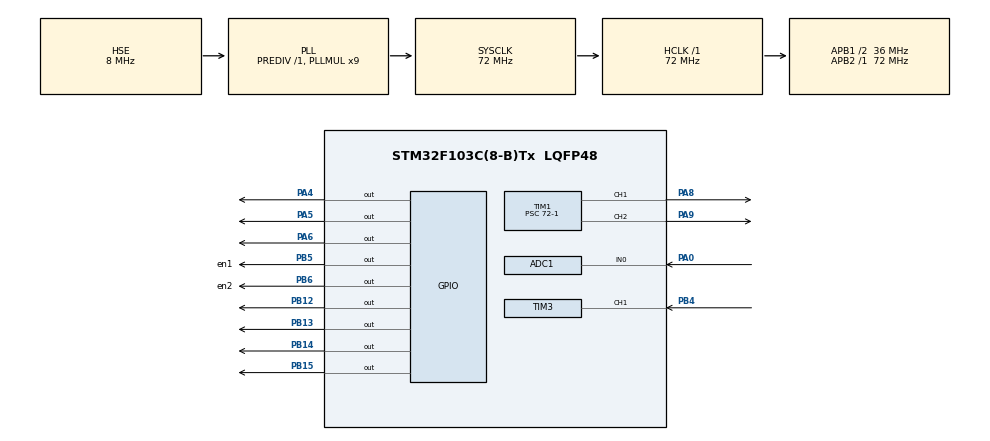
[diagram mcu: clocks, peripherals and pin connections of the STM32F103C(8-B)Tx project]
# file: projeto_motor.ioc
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ADC1.Channel-0\#ChannelRegularConversion=ADC_CHANNEL_0
ADC1.ContinuousConvMode=ENABLE
ADC1.NbrOfConversionFlag=1
ADC1.Rank-0\#ChannelRegularConversion=1
ADC1.SamplingTime-0\#ChannelRegularConversion=ADC_SAMPLETIME_1CYCLE_5
ADC1.master=1
Dma.ADC1.0.Direction=DMA_PERIPH_TO_MEMORY
Dma.ADC1.0.Instance=DMA1_Channel1
Dma.ADC1.0.MemDataAlignment=DMA_MDATAALIGN_WORD
Dma.ADC1.0.MemInc=DMA_MINC_ENABLE
Dma.ADC1.0.Mode=DMA_CIRCULAR
Dma.ADC1.0.PeriphDataAlignment=DMA_PDATAALIGN_WORD
Dma.ADC1.0.PeriphInc=DMA_PINC_DISABLE
Dma.ADC1.0.Priority=DMA_PRIORITY_LOW
Dma.Request0=ADC1
Mcu.Family=STM32F1
Mcu.Name=STM32F103C(8-B)Tx
Mcu.Package=LQFP48
NVIC.ADC1_2_IRQn=true\:0\:0\:false\:false\:true\:true\:true\:true
NVIC.DMA1_Channel1_IRQn=true\:0\:0\:false\:false\:true\:false\:true\:true
NVIC.PriorityGroup=NVIC_PRIORITYGROUP_4
NVIC.TIM4_IRQn=true\:0\:0\:false\:false\:true\:true\:true\:true
PA0-WKUP.Signal=ADCx_IN0
PA4.Signal=GPIO_Output
PA5.Signal=GPIO_Output
PA6.Signal=GPIO_Output
PA8.Signal=S_TIM1_CH1
PA9.Signal=S_TIM1_CH2
PB12.Signal=GPIO_Output
PB13.Signal=GPIO_Output
PB14.Signal=GPIO_Output
PB15.Signal=GPIO_Output
PB4.Signal=S_TIM3_CH1
PB5.GPIO_Label=en1
PB5.GPIO_PuPd=GPIO_PULLDOWN
PB5.Signal=GPIO_Output
PB6.GPIO_Label=en2
PB6.GPIO_PuPd=GPIO_PULLDOWN
PB6.Signal=GPIO_Output
PD0-OSC_IN.Mode=HSE-External-Oscillator
PD0-OSC_IN.Signal=RCC_OSC_IN
PD1-OSC_OUT.Mode=HSE-External-Oscillator
PD1-OSC_OUT.Signal=RCC_OSC_OUT
ProjectManager.HeapSize=0x200
ProjectManager.StackSize=0x400
ProjectManager.TargetToolchain=STM32CubeIDE
RCC.ADCPresc=RCC_ADCPCLK2_DIV6
RCC.AHBFreq_Value=72000000
RCC.APB1CLKDivider=RCC_HCLK_DIV2
RCC.APB1Freq_Value=36000000
RCC.APB1TimFreq_Value=72000000
RCC.APB2Freq_Value=72000000
RCC.APB2TimFreq_Value=72000000
RCC.HCLKFreq_Value=72000000
RCC.PLLMUL=RCC_PLL_MUL9
RCC.PLLSourceVirtual=RCC_PLLSOURCE_HSE
RCC.SYSCLKFreq_VALUE=72000000
RCC.SYSCLKSource=RCC_SYSCLKSOURCE_PLLCLK
RCC.USBFreq_Value=72000000
SH.ADCx_IN0.0=ADC1_IN0,IN0
SH.S_TIM1_CH1.0=TIM1_CH1,PWM Generation1 CH1
SH.S_TIM1_CH2.0=TIM1_CH2,PWM Generation2 CH2
SH.S_TIM3_CH1.0=TIM3_CH1,TriggerSource_TI1FP1
TIM1.Channel-PWM\ Generation1\ CH1=TIM_CHANNEL_1
TIM1.Channel-PWM\ Generation2\ CH2=TIM_CHANNEL_2
TIM1.OCIdleState_2=TIM_OCIDLESTATE_RESET
TIM1.OCPolarity_2=TIM_OCPOLARITY_HIGH
TIM1.Period=100-1
TIM1.Prescaler=72-1
TIM1.Pulse-PWM\ Generation2\ CH2=0
TIM4.AutoReloadPreload=TIM_AUTORELOAD_PRELOAD_ENABLE
TIM4.Period=999
TIM4.Prescaler=1799
VP_SYS_VS_ND.Mode=No_Debug
VP_TIM1_VS_ClockSourceINT.Mode=Internal
VP_TIM3_VS_ControllerModeClock.Mode=Clock Mode
VP_TIM4_VS_ClockSourceINT.Mode=Internal
board=custom

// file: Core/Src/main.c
/* USER CODE BEGIN Header */
/**
  ******************************************************************************
  * @file           : main.c
  * @brief          : Main program body
  ******************************************************************************
  * @attention
  *
  * Copyright (c) 2023 STMicroelectronics.
  * All rights reserved.
  *
  * This software is licensed under terms that can be found in the LICENSE file
  * in the root directory of this software component.
  * If no LICENSE file comes with this software, it is provided AS-IS.
  *
  ******************************************************************************
  */
/* USER CODE END Header */
#include "main.h"

/* USER CODE BEGIN Includes */
#include "lcd.h"
#include <math.h>
#include <stdlib.h>
#include <stdio.h>
/* USER CODE END Includes */

/* USER CODE BEGIN PD */
#define HORARIO 1				// Define variavéis para clarificar o que esta sendo checado
#define ANTIHORARIO -1			// idem a de cima
#define ADC_MAX_THR 4000		// Valor do ADC a partir do qual é considerao 100% do pedal
#define ADC_MIN_THR 100			// Valor do ADC a partir do qual é considerao 0 do pedal
#define RPM_LOW_THR	100			// Valor menor que ese, motor considerado muito lento/parado
#define RPM_TIME_DELAY 400		// Intervalo de tempo entre checagens na velocidade, identifica motor parado
#define LCD_TIME_DELAY 200		// Intervalo de tempo entre atualizações do LCD
#define ADC_TIME_DELAY 300		// Intervalo de tempo usado para identificar variações rápidas no pedal
#define MAX_ADC_VARIATION 1000	// Define a variação máxima permitida do ADC em um itervalo de tempo
#define NOISE 200				// Adiciona robustez a rudios na leitura do ADC
#define PPR 1000
#define TIM4_FREQ 40
/* USER CODE END PD */

ADC_HandleTypeDef hadc1;
DMA_HandleTypeDef hdma_adc1;

TIM_HandleTypeDef htim1;
TIM_HandleTypeDef htim3;
TIM_HandleTypeDef htim4;

void SystemClock_Config(void);
static void MX_GPIO_Init(void);
static void MX_DMA_Init(void);
static void MX_ADC1_Init(void);
static void MX_TIM1_Init(void);
static void MX_TIM3_Init(void);
static void MX_TIM4_Init(void);

/* USER CODE BEGIN 0 */
uint32_t current_time;
uint32_t last_time_RPM;
uint32_t last_time_ADC;
uint32_t last_time_LCD;
uint32_t ADC_atual;
uint32_t ADC_anterior = 0;
uint32_t maior_valor = 0;
uint32_t maior_valor_anterior;
uint16_t ticks; 					//contagem de pulsos do TIM3
float RPM;
float duty_cycle;
int conversion;
int count;
int sentido_giro = HORARIO;
int en_increment, en_count;
int motor_low_speed_flag = 0;
int safety_flag = 0;				// Alta caso algo de errado: movimento rapido no pedal ou motor travado
int motor_lock_flag = 0;			// Alta caso motor travado
int fast_movment_flag = 0;			// Alta caso movimento rapido no pedal
/* USER CODE END 0 */

int main(void)
{

  /* MCU Configuration--------------------------------------------------------*/

  /* Reset of all peripherals, Initializes the Flash interface and the Systick. */
  HAL_Init();

  /* Configure the system clock */
  SystemClock_Config();

  /* Initialize all configured peripherals */
  MX_GPIO_Init();
  MX_DMA_Init();
  MX_ADC1_Init();
  MX_TIM1_Init();
  MX_TIM3_Init();
  MX_TIM4_Init();
  /* USER CODE BEGIN 2 */
  lcd_Init(GPIOA, GPIO_PIN_4, GPIO_PIN_5,
		  GPIO_PIN_6, GPIOB, GPIO_PIN_12,
		  GPIO_PIN_13, GPIO_PIN_14, GPIO_PIN_15);
  HAL_TIM_Base_Start(&htim3);
  HAL_TIM_Base_Start_IT(&htim4);
  HAL_TIM_PWM_Start(&htim1, TIM_CHANNEL_1);
  HAL_TIM_PWM_Start(&htim1, TIM_CHANNEL_2);
  last_time_LCD = HAL_GetTick();
  last_time_ADC = HAL_GetTick();
  /* USER CODE END 2 */

  /* Infinite loop */
  /* USER CODE BEGIN WHILE */
  while (1)
  {
	  current_time = HAL_GetTick();
	  HAL_ADC_Start(&hadc1);
	  HAL_ADC_PollForConversion(&hadc1, 20);	// Espera pelo resultado por até 20 ms
	  ADC_atual = HAL_ADC_GetValue(&hadc1);		/*Realizando a leitura do valor do pot.*/

	  RPM = ticks*TIM4_FREQ*60/(PPR*0.6);

	  if(RPM < RPM_LOW_THR && !motor_low_speed_flag){	// Se o motor estiver lento e a flag de motor
		  motor_low_speed_flag = 1;						// lento ainda não foi acionada
		  last_time_RPM = current_time;					// aciona a flag e o timer para nova checagem
	  }

	  if(current_time - last_time_RPM > RPM_TIME_DELAY && motor_low_speed_flag){
		  if(RPM < RPM_LOW_THR){
			  safety_flag = 1;
			  motor_lock_flag = 1;						// Se o motor não se mover depois de RPM_TIME_DELAY ms
		  }												// considera-se motor travado
		  else{
			  motor_low_speed_flag = 0;					// Motor entrou em movimento, operação nominal
		  }
	  }

	  if(current_time - last_time_ADC > ADC_TIME_DELAY){
		  if((int) (abs(ADC_atual - ADC_anterior)) > MAX_ADC_VARIATION){
			  safety_flag = 1;
			  fast_movment_flag = 1;
		  }
		  ADC_anterior = ADC_atual;
		  last_time_ADC = current_time;
	  }

	  // CHECAR MOTOR PARADO AQUI

	  if(safety_flag){
		  htim1.Instance->CCR2=0;
		  htim1.Instance->CCR1=0;
		  HAL_Delay(20);
		  HAL_GPIO_WritePin(en1_GPIO_Port, en1_Pin, GPIO_PIN_SET);
		  HAL_GPIO_WritePin(en2_GPIO_Port, en2_Pin, GPIO_PIN_SET);
		  duty_cycle = 0.;
	  }

	  if(ADC_atual < ADC_MIN_THR){						// Caso pedal volte pra posição inicial
		  en_increment = 1;										// habilita-se o enable do incremento
		  safety_flag = 0;										// e reseta as flags
		  motor_lock_flag = 0;
		  fast_movment_flag = 0;
		  motor_low_speed_flag = 0;
	  }

	  if(ADC_atual < ADC_MAX_THR - NOISE && !safety_flag){
		  en_count = 1;
	  }

	  if(ADC_atual > ADC_MAX_THR && en_count && !safety_flag){	// Conta quantas vezes o pedal foi pressionado
		  count = count + 1;									// até o fim de curso, caso não haja problemas de
		  en_count = 0;											// segurança
	  }

	  if((ADC_atual > maior_valor || (en_increment && ADC_atual > ADC_MIN_THR + NOISE)) && !safety_flag){
		  maior_valor = ADC_atual;
		  en_increment = 0;

		  conversion = (int) (maior_valor/40.96);
		  duty_cycle = conversion;
		  if(sentido_giro == HORARIO){
			  htim1.Instance->CCR1=conversion;
			  htim1.Instance->CCR2=0;
		  }
		  if(sentido_giro == ANTIHORARIO){
			  htim1.Instance->CCR1=0;
			  htim1.Instance->CCR2=conversion;
		  }
	  }

	  if(count>=2){												// Inverte o sentido de rotação depois de desligar
		  htim1.Instance->CCR1=0;								// os ENALBE e PWM
		  htim1.Instance->CCR2=0;
		  HAL_Delay(300);
		  HAL_GPIO_WritePin(en1_GPIO_Port, en1_Pin, GPIO_PIN_SET);
		  HAL_GPIO_WritePin(en2_GPIO_Port, en2_Pin, GPIO_PIN_SET);
		  HAL_Delay(300);
		  count = 0;
		  sentido_giro=sentido_giro * -1;
	  }

	  if(sentido_giro == HORARIO && !safety_flag){
		  HAL_GPIO_WritePin(en1_GPIO_Port, en1_Pin, GPIO_PIN_SET);
		  HAL_GPIO_WritePin(en2_GPIO_Port, en2_Pin, GPIO_PIN_RESET);
	  }

	  if(sentido_giro == ANTIHORARIO && !safety_flag){
		  HAL_GPIO_WritePin(en1_GPIO_Port, en1_Pin, GPIO_PIN_RESET);
		  HAL_GPIO_WritePin(en2_GPIO_Port, en2_Pin, GPIO_PIN_SET);
	  }

	  if(current_time - last_time_LCD > LCD_TIME_DELAY){	// Atualiza o display a cada LCD_TIME_DELAY ms
		  lcd_clear();
		  if(motor_lock_flag){
			  lcd_gotoxy(0,0);
			  lcd_printf("MOTOR TRAVADO");
			  lcd_gotoxy(0,1);
			  lcd_printf("Retorne a inicio");
		  }
		  else if(fast_movment_flag){
			  lcd_gotoxy(0,0);
			  lcd_printf("MOVIMENTO RAPIDO");
			  lcd_gotoxy(0,1);
			  lcd_printf("Retorne a inicio");
		  }
		  else{
			  lcd_gotoxy(0,0);
			  lcd_printf("(%c)RPM: %0.0f ",(sentido_giro == 1) ? 'H':'A' ,RPM);
			  lcd_gotoxy(0,1);
			  lcd_printf("Ciclo T.: %0.1f %%", duty_cycle);
		  }
		  last_time_LCD = HAL_GetTick();
	  }
    /* USER CODE END WHILE */

  }
}

void SystemClock_Config(void)
{
  RCC_OscInitTypeDef RCC_OscInitStruct = {0};
  RCC_ClkInitTypeDef RCC_ClkInitStruct = {0};
  RCC_PeriphCLKInitTypeDef PeriphClkInit = {0};

  /** Initializes the RCC Oscillators according to the specified parameters
  * in the RCC_OscInitTypeDef structure.
  */
  RCC_OscInitStruct.OscillatorType = RCC_OSCILLATORTYPE_HSE;
  RCC_OscInitStruct.HSEState = RCC_HSE_ON;
  RCC_OscInitStruct.HSEPredivValue = RCC_HSE_PREDIV_DIV1;
  RCC_OscInitStruct.HSIState = RCC_HSI_ON;
  RCC_OscInitStruct.PLL.PLLState = RCC_PLL_ON;
  RCC_OscInitStruct.PLL.PLLSource = RCC_PLLSOURCE_HSE;
  RCC_OscInitStruct.PLL.PLLMUL = RCC_PLL_MUL9;
  if (HAL_RCC_OscConfig(&RCC_OscInitStruct) != HAL_OK)
  {
    Error_Handler();
  }

  /** Initializes the CPU, AHB and APB buses clocks
  */
  RCC_ClkInitStruct.ClockType = RCC_CLOCKTYPE_HCLK|RCC_CLOCKTYPE_SYSCLK
                              |RCC_CLOCKTYPE_PCLK1|RCC_CLOCKTYPE_PCLK2;
  RCC_ClkInitStruct.SYSCLKSource = RCC_SYSCLKSOURCE_PLLCLK;
  RCC_ClkInitStruct.AHBCLKDivider = RCC_SYSCLK_DIV1;
  RCC_ClkInitStruct.APB1CLKDivider = RCC_HCLK_DIV2;
  RCC_ClkInitStruct.APB2CLKDivider = RCC_HCLK_DIV1;

  if (HAL_RCC_ClockConfig(&RCC_ClkInitStruct, FLASH_LATENCY_2) != HAL_OK)
  {
    Error_Handler();
  }
  PeriphClkInit.PeriphClockSelection = RCC_PERIPHCLK_ADC;
  PeriphClkInit.AdcClockSelection = RCC_ADCPCLK2_DIV6;
  if (HAL_RCCEx_PeriphCLKConfig(&PeriphClkInit) != HAL_OK)
  {
    Error_Handler();
  }
}

static void MX_ADC1_Init(void)
{

  ADC_ChannelConfTypeDef sConfig = {0};

  /** Common config
  */
  hadc1.Instance = ADC1;
  hadc1.Init.ScanConvMode = ADC_SCAN_DISABLE;
  hadc1.Init.ContinuousConvMode = ENABLE;
  hadc1.Init.DiscontinuousConvMode = DISABLE;
  hadc1.Init.ExternalTrigConv = ADC_SOFTWARE_START;
  hadc1.Init.DataAlign = ADC_DATAALIGN_RIGHT;
  hadc1.Init.NbrOfConversion = 1;
  if (HAL_ADC_Init(&hadc1) != HAL_OK)
  {
    Error_Handler();
  }

  /** Configure Regular Channel
  */
  sConfig.Channel = ADC_CHANNEL_0;
  sConfig.Rank = ADC_REGULAR_RANK_1;
  sConfig.SamplingTime = ADC_SAMPLETIME_1CYCLE_5;
  if (HAL_ADC_ConfigChannel(&hadc1, &sConfig) != HAL_OK)
  {
    Error_Handler();
  }

}

static void MX_TIM1_Init(void)
{

  TIM_ClockConfigTypeDef sClockSourceConfig = {0};
  TIM_MasterConfigTypeDef sMasterConfig = {0};
  TIM_OC_InitTypeDef sConfigOC = {0};
  TIM_BreakDeadTimeConfigTypeDef sBreakDeadTimeConfig = {0};

  htim1.Instance = TIM1;
  htim1.Init.Prescaler = 72-1;
  htim1.Init.CounterMode = TIM_COUNTERMODE_UP;
  htim1.Init.Period = 100-1;
  htim1.Init.ClockDivision = TIM_CLOCKDIVISION_DIV1;
  htim1.Init.RepetitionCounter = 0;
  htim1.Init.AutoReloadPreload = TIM_AUTORELOAD_PRELOAD_DISABLE;
  if (HAL_TIM_Base_Init(&htim1) != HAL_OK)
  {
    Error_Handler();
  }
  sClockSourceConfig.ClockSource = TIM_CLOCKSOURCE_INTERNAL;
  if (HAL_TIM_ConfigClockSource(&htim1, &sClockSourceConfig) != HAL_OK)
  {
    Error_Handler();
  }
  if (HAL_TIM_PWM_Init(&htim1) != HAL_OK)
  {
    Error_Handler();
  }
  sMasterConfig.MasterOutputTrigger = TIM_TRGO_RESET;
  sMasterConfig.MasterSlaveMode = TIM_MASTERSLAVEMODE_DISABLE;
  if (HAL_TIMEx_MasterConfigSynchronization(&htim1, &sMasterConfig) != HAL_OK)
  {
    Error_Handler();
  }
  sConfigOC.OCMode = TIM_OCMODE_PWM1;
  sConfigOC.Pulse = 0;
  sConfigOC.OCPolarity = TIM_OCPOLARITY_HIGH;
  sConfigOC.OCNPolarity = TIM_OCNPOLARITY_HIGH;
  sConfigOC.OCFastMode = TIM_OCFAST_DISABLE;
  sConfigOC.OCIdleState = TIM_OCIDLESTATE_RESET;
  sConfigOC.OCNIdleState = TIM_OCNIDLESTATE_RESET;
  if (HAL_TIM_PWM_ConfigChannel(&htim1, &sConfigOC, TIM_CHANNEL_1) != HAL_OK)
  {
    Error_Handler();
  }
  if (HAL_TIM_PWM_ConfigChannel(&htim1, &sConfigOC, TIM_CHANNEL_2) != HAL_OK)
  {
    Error_Handler();
  }
  sBreakDeadTimeConfig.OffStateRunMode = TIM_OSSR_DISABLE;
  sBreakDeadTimeConfig.OffStateIDLEMode = TIM_OSSI_DISABLE;
  sBreakDeadTimeConfig.LockLevel = TIM_LOCKLEVEL_OFF;
  sBreakDeadTimeConfig.DeadTime = 0;
  sBreakDeadTimeConfig.BreakState = TIM_BREAK_DISABLE;
  sBreakDeadTimeConfig.BreakPolarity = TIM_BREAKPOLARITY_HIGH;
  sBreakDeadTimeConfig.AutomaticOutput = TIM_AUTOMATICOUTPUT_DISABLE;
  if (HAL_TIMEx_ConfigBreakDeadTime(&htim1, &sBreakDeadTimeConfig) != HAL_OK)
  {
    Error_Handler();
  }
  HAL_TIM_MspPostInit(&htim1);

}

static void MX_TIM3_Init(void)
{

  TIM_SlaveConfigTypeDef sSlaveConfig = {0};
  TIM_MasterConfigTypeDef sMasterConfig = {0};

  htim3.Instance = TIM3;
  htim3.Init.Prescaler = 0;
  htim3.Init.CounterMode = TIM_COUNTERMODE_UP;
  htim3.Init.Period = 65535;
  htim3.Init.ClockDivision = TIM_CLOCKDIVISION_DIV1;
  htim3.Init.AutoReloadPreload = TIM_AUTORELOAD_PRELOAD_DISABLE;
  if (HAL_TIM_Base_Init(&htim3) != HAL_OK)
  {
    Error_Handler();
  }
  sSlaveConfig.SlaveMode = TIM_SLAVEMODE_EXTERNAL1;
  sSlaveConfig.InputTrigger = TIM_TS_TI1FP1;
  sSlaveConfig.TriggerPolarity = TIM_TRIGGERPOLARITY_RISING;
  sSlaveConfig.TriggerFilter = 0;
  if (HAL_TIM_SlaveConfigSynchro(&htim3, &sSlaveConfig) != HAL_OK)
  {
    Error_Handler();
  }
  sMasterConfig.MasterOutputTrigger = TIM_TRGO_RESET;
  sMasterConfig.MasterSlaveMode = TIM_MASTERSLAVEMODE_DISABLE;
  if (HAL_TIMEx_MasterConfigSynchronization(&htim3, &sMasterConfig) != HAL_OK)
  {
    Error_Handler();
  }

}

static void MX_TIM4_Init(void)
{

  TIM_ClockConfigTypeDef sClockSourceConfig = {0};
  TIM_MasterConfigTypeDef sMasterConfig = {0};

  htim4.Instance = TIM4;
  htim4.Init.Prescaler = 1799;
  htim4.Init.CounterMode = TIM_COUNTERMODE_UP;
  htim4.Init.Period = 999;
  htim4.Init.ClockDivision = TIM_CLOCKDIVISION_DIV1;
  htim4.Init.AutoReloadPreload = TIM_AUTORELOAD_PRELOAD_ENABLE;
  if (HAL_TIM_Base_Init(&htim4) != HAL_OK)
  {
    Error_Handler();
  }
  sClockSourceConfig.ClockSource = TIM_CLOCKSOURCE_INTERNAL;
  if (HAL_TIM_ConfigClockSource(&htim4, &sClockSourceConfig) != HAL_OK)
  {
    Error_Handler();
  }
  sMasterConfig.MasterOutputTrigger = TIM_TRGO_RESET;
  sMasterConfig.MasterSlaveMode = TIM_MASTERSLAVEMODE_DISABLE;
  if (HAL_TIMEx_MasterConfigSynchronization(&htim4, &sMasterConfig) != HAL_OK)
  {
    Error_Handler();
  }

}

static void MX_DMA_Init(void)
{

  /* DMA controller clock enable */
  __HAL_RCC_DMA1_CLK_ENABLE();

  /* DMA interrupt init */
  /* DMA1_Channel1_IRQn interrupt configuration */
  HAL_NVIC_SetPriority(DMA1_Channel1_IRQn, 0, 0);
  HAL_NVIC_EnableIRQ(DMA1_Channel1_IRQn);

}

static void MX_GPIO_Init(void)
{
  GPIO_InitTypeDef GPIO_InitStruct = {0};

  /* GPIO Ports Clock Enable */
  __HAL_RCC_GPIOD_CLK_ENABLE();
  __HAL_RCC_GPIOA_CLK_ENABLE();
  __HAL_RCC_GPIOB_CLK_ENABLE();

  /*Configure GPIO pin Output Level */
  HAL_GPIO_WritePin(GPIOA, GPIO_PIN_4|GPIO_PIN_5|GPIO_PIN_6, GPIO_PIN_RESET);

  /*Configure GPIO pin Output Level */
  HAL_GPIO_WritePin(GPIOB, GPIO_PIN_12|GPIO_PIN_13|GPIO_PIN_14|GPIO_PIN_15
                          |en1_Pin|en2_Pin, GPIO_PIN_RESET);

  /*Configure GPIO pins : PA4 PA5 PA6 */
  GPIO_InitStruct.Pin = GPIO_PIN_4|GPIO_PIN_5|GPIO_PIN_6;
  GPIO_InitStruct.Mode = GPIO_MODE_OUTPUT_PP;
  GPIO_InitStruct.Pull = GPIO_NOPULL;
  GPIO_InitStruct.Speed = GPIO_SPEED_FREQ_LOW;
  HAL_GPIO_Init(GPIOA, &GPIO_InitStruct);

  /*Configure GPIO pins : PB12 PB13 PB14 PB15 */
  GPIO_InitStruct.Pin = GPIO_PIN_12|GPIO_PIN_13|GPIO_PIN_14|GPIO_PIN_15;
  GPIO_InitStruct.Mode = GPIO_MODE_OUTPUT_PP;
  GPIO_InitStruct.Pull = GPIO_NOPULL;
  GPIO_InitStruct.Speed = GPIO_SPEED_FREQ_LOW;
  HAL_GPIO_Init(GPIOB, &GPIO_InitStruct);

  /*Configure GPIO pins : en1_Pin en2_Pin */
  GPIO_InitStruct.Pin = en1_Pin|en2_Pin;
  GPIO_InitStruct.Mode = GPIO_MODE_OUTPUT_PP;
  GPIO_InitStruct.Pull = GPIO_PULLDOWN;
  GPIO_InitStruct.Speed = GPIO_SPEED_FREQ_LOW;
  HAL_GPIO_Init(GPIOB, &GPIO_InitStruct);

}

void Error_Handler(void)
{
  __disable_irq();
  while (1)
  {
  }
}
